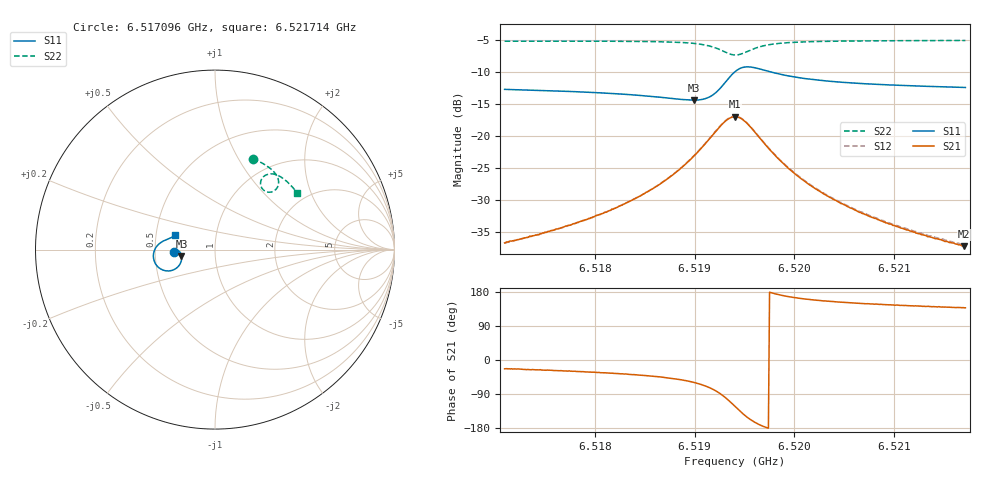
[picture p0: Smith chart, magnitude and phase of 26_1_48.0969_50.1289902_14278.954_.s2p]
#  HZ  S  RI  R  50.00
! Rohde & Schwarz Vector Network Analyzer
! Rohde-Schwarz,ZNB20-2Port,1311601062101988,3.16
! Created: UTC 12/23/2023, 3:37:11 AM
! freq[Hz]  re:S11  im:S11  re:S21  im:S21  re:S12  im:S12  re:S22  im:S22
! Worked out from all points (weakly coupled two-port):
!   401 points, 6.517096 GHz to 6.521714 GHz, reference 50 ohm
!   highest |S21| = -17.03 dB at 6.519405 GHz (marker M1); lowest = -37.3 dB at 6.521702 GHz (marker M2)
!   lowest |S11| = -14.4 dB at 6.518989 GHz (marker M3), VSWR 1.47, Z = 34.2 - j2.47 ohm
!   |S11| at or under -10 dB: start of sweep to 6.519404 GHz; 6.519759 GHz to end of sweep
!   |S22| runs from -7.4 to -5.1 dB; largest |S21 - S12| = 0.0042
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6.5170959e9  -0.2301 -0.0151  0.0133 -0.00572  0.0135 -0.00514  0.2108 0.5067
6.5174423e9  -0.2261 -0.0101  0.0152 -0.00743  0.0153 -0.007  0.2363 0.4955
6.5178694e9  -0.22 -0.0052  0.0185 -0.011  0.0189 -0.0105  0.2679 0.4791
6.5182966e9  -0.2108 -0.00373  0.0233 -0.0177  0.024 -0.0169  0.3001 0.4583
6.5186429e9  -0.2004 -0.00892  0.0296 -0.0288  0.0306 -0.0282  0.327 0.435
6.5188161e9  -0.1934 -0.0172  0.0332 -0.0399  0.0346 -0.0391  0.3404 0.418
6.5189893e9  -0.1867 -0.0348  0.0357 -0.0591  0.0377 -0.0582  0.3519 0.3938
6.5190932e9  -0.1861 -0.0539  0.0328 -0.0776  0.0355 -0.077  0.3545 0.3729
6.5191856e9  -0.1939 -0.0787  0.022 -0.1  0.025 -0.1001  0.3489 0.3495
6.5193125e9  -0.238 -0.1152  -0.0229 -0.1289  -0.0194 -0.1305  0.3146 0.321
6.5194049e9  -0.2968 -0.1109  -0.0753 -0.119  -0.0726 -0.1221  0.2736 0.3291
6.5194511e9  -0.3222 -0.0919  -0.0961 -0.0995  -0.0939 -0.103  0.2593 0.3458
6.5195088e9  -0.3399 -0.0598  -0.1082 -0.0696  -0.1071 -0.0732  0.2537 0.3707
6.5196012e9  -0.3403 -0.0131  -0.1034 -0.0295  -0.1033 -0.0328  0.2659 0.4018
6.5197051e9  -0.3239 0.0188  -0.0858 -0.00474  -0.0864 -0.00722  0.2891 0.418
6.5199244e9  -0.2919 0.0455  -0.0557 0.0119  -0.0568 0.0104  0.3292 0.4204
6.5201784e9  -0.2699 0.0557  -0.0374 0.0143  -0.0382 0.0135  0.3594 0.4088
6.5205709e9  -0.2512 0.0629  -0.0237 0.0132  -0.0244 0.0127  0.3923 0.3865
6.5209519e9  -0.2402 0.0684  -0.0168 0.0115  -0.0174 0.0114  0.417 0.3638
6.5212521e9  -0.2336 0.0726  -0.0135 0.0105  -0.014 0.0103  0.4339 0.3455
6.5217023e9  -0.2255 0.0787  -0.0102 0.00919  -0.0108 0.00913  0.4566 0.3177
6.5217139e9  -0.2252 0.0787  -0.0101 0.0092  -0.0105 0.00908  0.4571 0.3169
